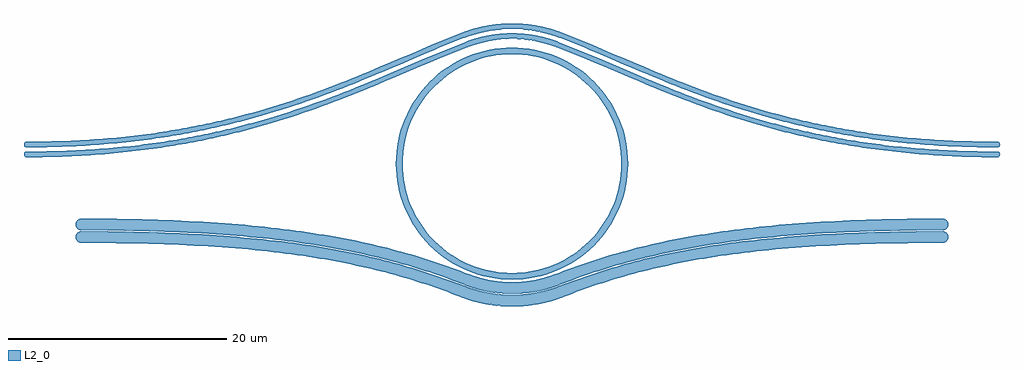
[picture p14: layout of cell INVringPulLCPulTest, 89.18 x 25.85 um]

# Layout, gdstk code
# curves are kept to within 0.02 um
import gdstk
lib = gdstk.Library(unit=1e-6, precision=1e-09)
def P(c, l, *ps):  # polygons
    for p in ps: c.add(gdstk.Polygon(p, *l))
L2_0 = (2, 0)

invringpullcpultest = lib.new_cell('INVringPulLCPulTest')
P(invringpullcpultest, L2_0, [(10,-30.6),(8.961,-30.549),(7.932,-30.396),(6.923,-30.144),(5.944,-29.793),(5.003,-29.348),(4.111,-28.814),(3.275,-28.194),(2.505,-27.495),(1.806,-26.725),(1.186,-25.889),(0.652,-24.997),(0.207,-24.056),(-0.144,-23.077),(-0.396,-22.068),(-0.549,-21.039),(-0.6,-20),(-0.549,-18.961),(-0.396,-17.932),(-0.144,-16.923),(0.207,-15.944),(0.652,-15.003),(1.186,-14.111),(1.806,-13.275),(2.505,-12.505),(3.275,-11.806),(4.111,-11.186),(5.003,-10.652),(5.944,-10.207),(6.923,-9.856),(7.932,-9.604),(8.961,-9.451),(10,-9.4),(11.039,-9.451),(12.068,-9.604),(13.077,-9.856),(14.056,-10.207),(14.997,-10.652),(15.889,-11.186),(16.725,-11.806),(17.495,-12.505),(18.194,-13.275),(18.814,-14.111),(19.348,-15.003),(19.793,-15.944),(20.144,-16.923),(20.396,-17.932),(20.549,-18.961),(20.6,-20),(20,-20),(19.988,-19.509),(19.892,-18.533),(19.808,-18.049),(19.569,-17.097),(19.239,-16.173),(19.04,-15.724),(18.577,-14.859),(18.032,-14.043),(17.41,-13.284),(16.716,-12.59),(16.344,-12.27),(15.556,-11.685),(15.141,-11.423),(14.276,-10.96),(13.827,-10.761),(12.903,-10.431),(12.43,-10.3),(11.951,-10.192),(10.98,-10.048),(10.491,-10.012),(9.509,-10.012),(8.533,-10.108),(8.049,-10.192),(7.097,-10.431),(6.631,-10.585),(6.173,-10.761),(5.286,-11.181),(4.444,-11.685),(4.043,-11.968),(3.284,-12.59),(2.929,-12.929),(2.59,-13.284),(1.968,-14.043),(1.423,-14.859),(0.96,-15.724),(0.761,-16.173),(0.431,-17.097),(0.192,-18.049),(0.108,-18.533),(0.012,-19.509),(0.012,-20.491),(0.048,-20.98),(0.192,-21.951),(0.431,-22.903),(0.761,-23.827),(0.96,-24.276),(1.181,-24.714),(1.685,-25.556),(2.27,-26.344),(2.59,-26.716),(3.284,-27.41),(4.043,-28.032),(4.444,-28.315),(5.286,-28.819),(6.173,-29.239),(7.097,-29.569),(7.57,-29.7),(8.533,-29.892),(9.509,-29.988),(10.491,-29.988),(10.98,-29.952),(11.951,-29.808),(12.903,-29.569),(13.369,-29.415),(14.276,-29.04),(14.714,-28.819),(15.556,-28.315),(15.957,-28.032),(16.716,-27.41),(17.41,-26.716),(18.032,-25.957),(18.577,-25.141),(19.04,-24.276),(19.239,-23.827),(19.569,-22.903),(19.7,-22.43),(19.892,-21.467),(19.952,-20.98),(20,-20),(20.6,-20),(20.549,-21.039),(20.396,-22.068),(20.144,-23.077),(19.793,-24.056),(19.348,-24.997),(18.814,-25.889),(18.194,-26.725),(17.495,-27.495),(16.725,-28.194),(15.889,-28.814),(14.997,-29.348),(14.056,-29.793),(13.077,-30.144),(12.068,-30.396),(11.039,-30.549)],
  [(-34.341,-19.406),(-34.341,-18.906),(-31.585,-18.865),(-28.951,-18.746),(-26.432,-18.556),(-24.024,-18.298),(-21.347,-17.921),(-19.159,-17.538),(-16.724,-17.029),(-14.731,-16.546),(-12.82,-16.025),(-10.984,-15.473),(-9.223,-14.896),(-6.977,-14.096),(-3.796,-12.856),(3.439,-9.81),(6.065,-8.769),(7.016,-8.48),(7.987,-8.271),(8.939,-8.147),(9.897,-8.1),(10.822,-8.128),(11.81,-8.238),(12.785,-8.43),(13.708,-8.692),(16.561,-9.81),(23.796,-12.856),(26.977,-14.096),(29.223,-14.896),(31.588,-15.66),(33.766,-16.29),(35.717,-16.792),(38.1,-17.327),(40.241,-17.736),(42.477,-18.092),(44.815,-18.391),(47.259,-18.627),(49.382,-18.771),(51.585,-18.865),(54.341,-18.906),(54.341,-19.406),(50.674,-19.333),(47.22,-19.125),(44.362,-18.842),(41.648,-18.474),(39.069,-18.029),(36.277,-17.439),(34.284,-16.946),(32.06,-16.324),(29.647,-15.566),(27.37,-14.773),(23.632,-13.328),(16.385,-10.278),(13.552,-9.167),(12.7,-8.924),(11.831,-8.748),(10.886,-8.634),(9.901,-8.6),(8.983,-8.645),(8.072,-8.764),(7.141,-8.964),(6.261,-9.23),(3.615,-10.278),(-3.632,-13.328),(-6.818,-14.57),(-9.067,-15.371),(-11.443,-16.139),(-13.637,-16.773),(-15.603,-17.279),(-18.003,-17.818),(-20.158,-18.229),(-22.409,-18.588),(-24.761,-18.888),(-27.22,-19.125),(-29.355,-19.271),(-31.57,-19.365)],
  [(-34.341,-18.506),(-34.341,-18.006),(-31.612,-17.965),(-29.43,-17.873),(-26.919,-17.695),(-24.519,-17.451),(-22.225,-17.146),(-19.675,-16.719),(-17.252,-16.225),(-15.271,-15.755),(-13.063,-15.159),(-11.252,-14.614),(-9.501,-14.04),(-7.259,-13.241),(-4.082,-12.002),(3.14,-8.96),(5.942,-7.86),(6.897,-7.582),(7.835,-7.384),(8.822,-7.254),(9.889,-7.2),(10.921,-7.233),(12.019,-7.36),(12.995,-7.555),(14.058,-7.86),(16.86,-8.96),(24.082,-12.002),(27.259,-13.241),(29.501,-14.04),(31.848,-14.799),(33.683,-15.334),(35.922,-15.916),(38.275,-16.444),(40.39,-16.848),(42.6,-17.201),(44.911,-17.496),(47.33,-17.73),(49.43,-17.873),(51.612,-17.965),(54.341,-18.006),(54.341,-18.506),(50.709,-18.434),(47.29,-18.228),(44.463,-17.948),(41.779,-17.584),(38.878,-17.076),(36.473,-16.561),(34.506,-16.074),(32.311,-15.46),(29.924,-14.71),(27.651,-13.918),(23.919,-12.475),(16.684,-9.428),(13.866,-8.323),(12.878,-8.041),(11.905,-7.848),(10.92,-7.734),(9.894,-7.7),(8.868,-7.752),(7.99,-7.865),(6.984,-8.075),(6.033,-8.357),(3.316,-9.428),(-3.919,-12.475),(-7.651,-13.918),(-9.924,-14.71),(-11.703,-15.277),(-13.868,-15.903),(-15.808,-16.403),(-18.178,-16.935),(-20.307,-17.341),(-22.532,-17.696),(-24.858,-17.993),(-26.877,-18.194),(-29.403,-18.372),(-31.597,-18.465)],
  [(54.341,-18.506),(54.341,-18.006),(54.438,-18.025),(54.518,-18.079),(54.571,-18.158),(54.591,-18.256),(54.571,-18.353),(54.518,-18.432),(54.438,-18.486)],
  [(-34.341,-18.506),(-34.438,-18.486),(-34.518,-18.432),(-34.571,-18.353),(-34.591,-18.256),(-34.571,-18.158),(-34.518,-18.079),(-34.438,-18.025),(-34.341,-18.006)],
  [(54.341,-19.406),(54.341,-18.906),(54.438,-18.925),(54.518,-18.979),(54.571,-19.058),(54.591,-19.156),(54.571,-19.253),(54.518,-19.332),(54.438,-19.386)],
  [(-34.341,-19.406),(-34.438,-19.386),(-34.518,-19.332),(-34.571,-19.253),(-34.591,-19.156),(-34.571,-19.058),(-34.518,-18.979),(-34.438,-18.925),(-34.341,-18.906)],
  [(49.339,-27.235),(49.339,-26.185),(49.543,-26.226),(49.71,-26.338),(49.822,-26.505),(49.864,-26.71),(49.822,-26.914),(49.71,-27.081),(49.543,-27.193)],
  [(10,-33.05),(9.201,-33.026),(8.368,-32.948),(7.728,-32.851),(6.872,-32.67),(5.777,-32.348),(3.34,-31.445),(1.761,-30.91),(-1.123,-30.057),(-2.859,-29.617),(-4.671,-29.213),(-6.57,-28.844),(-8.058,-28.592),(-10.136,-28.287),(-12.898,-27.96),(-15.252,-27.74),(-17.747,-27.56),(-20.392,-27.418),(-23.199,-27.317),(-26.177,-27.255),(-29.392,-27.232),(-29.589,-27.171),(-29.744,-27.044),(-29.853,-26.815),(-29.853,-26.604),(-29.8,-26.459),(-29.672,-26.304),(-29.495,-26.208),(-29.339,-26.185),(-29.339,-27.235),(-29.339,-26.185),(-23.885,-26.248),(-18.965,-26.438),(-16.372,-26.601),(-13.925,-26.804),(-9.96,-27.252),(-8.374,-27.48),(-6.352,-27.817),(-4.429,-28.191),(-2.593,-28.601),(-0.406,-29.165),(1.683,-29.783),(3.692,-30.456),(6.017,-31.32),(6.886,-31.589),(7.67,-31.772),(8.499,-31.906),(9.3,-31.98),(10.105,-32),(10.909,-31.966),(11.674,-31.883),(12.467,-31.744),(13.181,-31.571),(13.983,-31.32),(16.308,-30.456),(18.317,-29.783),(19.981,-29.284),(22.147,-28.71),(23.962,-28.29),(25.379,-28),(26.848,-27.729),(28.896,-27.402),(31.054,-27.112),(33.334,-26.861),(35.747,-26.648),(38.303,-26.475),(41.012,-26.341),(43.885,-26.248),(49.339,-26.185),(49.339,-27.235),(46.177,-27.255),(42.482,-27.338),(39.716,-27.45),(37.11,-27.601),(34.058,-27.845),(31.77,-28.084),(29.606,-28.36),(27.06,-28.758),(25.137,-29.117),(23.754,-29.411),(21.982,-29.833),(20.281,-30.29),(17.84,-31.041),(16.272,-31.584),(14.223,-32.348),(13.128,-32.67),(12.272,-32.851),(11.632,-32.948),(10.799,-33.026)],
  [(49.339,-26.085),(49.339,-25.035),(49.543,-25.076),(49.71,-25.188),(49.822,-25.355),(49.864,-25.56),(49.822,-25.764),(49.71,-25.931),(49.543,-26.043)],
  [(10,-31.9),(9.237,-31.876),(8.512,-31.807),(7.826,-31.7),(7.114,-31.545),(6.051,-31.226),(4.102,-30.496),(2.509,-29.945),(-0.394,-29.064),(-2.137,-28.609),(-3.954,-28.19),(-5.856,-27.807),(-7.853,-27.461),(-9.956,-27.152),(-12.749,-26.82),(-15.129,-26.597),(-17.649,-26.414),(-20.319,-26.271),(-23.15,-26.168),(-26.153,-26.105),(-29.392,-26.082),(-29.589,-26.021),(-29.744,-25.894),(-29.853,-25.665),(-29.853,-25.454),(-29.8,-25.309),(-29.672,-25.154),(-29.495,-25.058),(-29.339,-25.035),(-29.339,-26.085),(-29.339,-25.035),(-28.518,-25.036),(-23.101,-25.119),(-18.21,-25.329),(-13.788,-25.663),(-9.779,-26.117),(-8.173,-26.348),(-6.126,-26.69),(-4.178,-27.069),(-2.317,-27.485),(-0.098,-28.057),(2.022,-28.684),(4.062,-29.367),(6.459,-30.256),(7.215,-30.487),(7.924,-30.65),(8.674,-30.769),(9.368,-30.832),(10.095,-30.85),(10.727,-30.826),(11.451,-30.753),(12.107,-30.644),(12.876,-30.462),(13.661,-30.214),(16.341,-29.226),(17.978,-28.684),(19.666,-28.178),(21.864,-27.595),(23.705,-27.17),(25.141,-26.875),(26.628,-26.601),(28.701,-26.269),(30.885,-25.975),(33.191,-25.72),(35.629,-25.504),(38.21,-25.329),(40.944,-25.193),(43.842,-25.099),(49.339,-25.035),(49.339,-26.085),(46.153,-26.105),(43.15,-26.168),(40.319,-26.271),(37.005,-26.456),(34.521,-26.649),(31.609,-26.946),(29.42,-27.226),(26.842,-27.629),(25.372,-27.899),(23.492,-28.291),(20.394,-29.064),(17.491,-29.945),(15.898,-30.496),(13.949,-31.226),(12.886,-31.545),(12.174,-31.7),(11.488,-31.807),(10.763,-31.876)])

lib.write_gds('INVringPulLCPulTest.gds')
